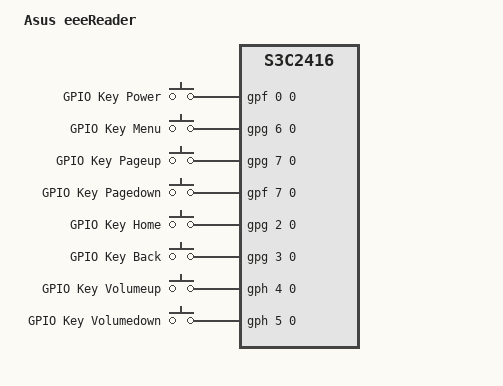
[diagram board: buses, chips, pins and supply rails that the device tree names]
/*
 * Qisda ES600 ereader - variant AS09
 *
 * Copyright (c) 2012 Heiko Stuebner <heiko@sntech.de>
 *
 * This program is free software; you can redistribute it and/or modify
 * it under the terms of the GNU General Public License version 2 as
 * published by the Free Software Foundation.
*/

/dts-v1/;
/include/ "s3c2416.dtsi"
/include/ "s3c2416-common-es600.dtsi"

/ {
	model = "Asus eeeReader";
	compatible = "qisda,as09","samsung,s3c2416";

//	chosen {
//		bootargs = "root=/dev/ram0 rw ramdisk=8192 console=ttySAC1,115200";
//	};

	gpio-keys {
		compatible = "gpio-keys";
		#address-cells = <1>;
		#size-cells = <0>;
		autorepeat;

		key_power {
			gpios = <&gpf 0 0 0x10003>;
			linux,code = <116>;
			label = "GPIO Key Power";
			linux,input-type = <1>;
			gpio-key,wakeup = <1>;
			debounce-interval = <100>;
		};
		key_menu {
			gpios = <&gpg 6 0 0x10003>;
			linux,code = <139>;
			label = "GPIO Key Menu";
			linux,input-type = <1>;
			gpio-key,wakeup = <0>;
			debounce-interval = <100>;
		};
		key_pageup {
			gpios = <&gpg 7 0 0x10003>;
			linux,code = <104>;
			label = "GPIO Key Pageup";
			linux,input-type = <1>;
			gpio-key,wakeup = <0>;
			debounce-interval = <100>;
		};
		key_pagedown {
			gpios = <&gpf 7 0 0x10003>;
			linux,code = <109>;
			label = "GPIO Key Pagedown";
			linux,input-type = <1>;
			gpio-key,wakeup = <0>;
			debounce-interval = <100>;
		};
		key_home {
			gpios = <&gpg 2 0 0x10003>;
			linux,code = <172>;
			label = "GPIO Key Home";
			linux,input-type = <1>;
			gpio-key,wakeup = <0>;
			debounce-interval = <100>;
		};
		key_back {
			gpios = <&gpg 3 0 0x10003>;
			linux,code = <158>;
			label = "GPIO Key Back";
			linux,input-type = <1>;
			gpio-key,wakeup = <0>;
			debounce-interval = <100>;
		};
	};

	/* FIXME: currently fails to probe */
	gpio-keys-polled {
		compatible = "gpio-keys-polled";
		#address-cells = <1>;
		#size-cells = <0>;
		poll-interval = <200>;

		key_volumeup {
			gpios = <&gph 4 0 0x10003>;
			linux,code = <115>;
			label = "GPIO Key Volumeup";
		};
		key_volumedown {
			gpios = <&gph 5 0 0x10003>;
			linux,code = <114>;
			label = "GPIO Key Volumedown";
		};
	};

	es600-epd@4C800000 {
		compatible = "es600-epd";
		reg = <0x4C800000 0x4000>;
		driver = "auo_k1900fb";
		resolution = <1>;
		quirks = <1>; /* standby param */
		fps = <1>;
		gpios = <&gpd 9 1 0>,	/* nrst */
			<&gpb 2 0 0>,	/* nbusy */
			<&gpb 1 1 0>;	/* nsleep */
	};
};
